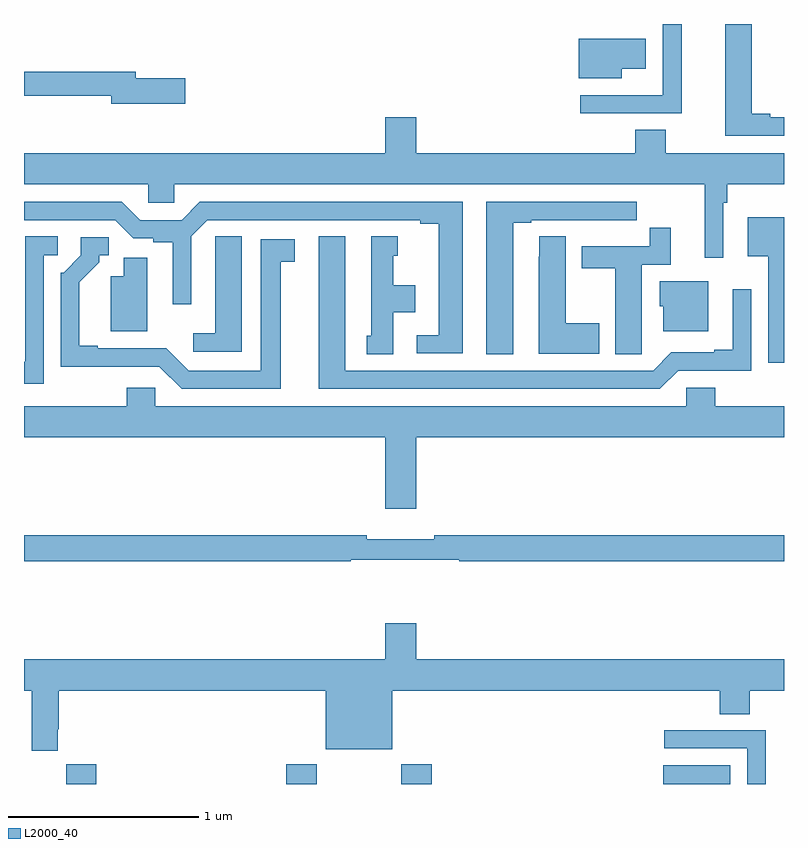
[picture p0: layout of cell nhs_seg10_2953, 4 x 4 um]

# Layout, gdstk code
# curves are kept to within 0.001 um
import gdstk
lib = gdstk.Library(unit=1e-6, precision=1e-09)
def R(c, l, rs):  # rectangles x0, y0, x1, y1
    for r in rs: c.add(gdstk.rectangle(r[:2], r[2:], *l))
def P(c, l, *ps):  # polygons
    for p in ps: c.add(gdstk.Polygon(p, *l))
L2000_40 = (2000, 40)

nhs_seg10_2953 = lib.new_cell('nhs_seg10_2953')
R(nhs_seg10_2953, L2000_40, [(271.223,1290.5,271.379,1290.604), (272.381,1290.5,272.541,1290.604), (272.986,1290.5,273.146,1290.604), (274.364,1290.5,274.717,1290.598)])
P(nhs_seg10_2953, L2000_40, [(275,1294.008),(274.927,1294.008),(274.927,1294.028),(274.831,1294.028),(274.831,1294.5),(274.691,1294.5),(274.691,1293.912),(275,1293.912)],
  [(274.461,1294.5),(274.362,1294.5),(274.362,1294.126),(274.361,1294.126),(274.361,1294.125),(273.927,1294.125),(273.927,1294.029),(274.461,1294.029)],
  [(274.147,1294.265),(274.273,1294.265),(274.273,1294.423),(273.92,1294.423),(273.92,1294.214),(274.147,1294.214)],
  [(271.849,1294.214),(271.588,1294.214),(271.588,1294.25),(271,1294.25),(271,1294.122),(271.46,1294.122),(271.46,1294.079),(271.849,1294.079)],
  [(274.68,1293.56),(274.7,1293.56),(274.7,1293.656),(275,1293.656),(275,1293.82),(274.377,1293.82),(274.377,1293.944),(274.217,1293.944),(274.217,1293.82),(273.064,1293.82),(273.064,1294.009),(272.9,1294.009),(272.9,1293.82),(271,1293.82),(271,1293.656),(271.653,1293.656),(271.653,1293.558),(271.791,1293.558),(271.791,1293.656),(274.583,1293.656),(274.583,1293.27),(274.68,1293.27)],
  [(273.574,1293.453),(273.67,1293.453),(273.67,1293.468),(273.946,1293.468),(273.946,1293.467),(274.112,1293.467),(274.112,1293.468),(274.225,1293.468),(274.225,1293.564),(273.434,1293.564),(273.434,1292.761),(273.574,1292.761)],
  [(273.31,1293.564),(271.925,1293.564),(271.829,1293.468),(271.611,1293.468),(271.515,1293.564),(271,1293.564),(271,1293.468),(271.479,1293.468),(271.575,1293.372),(271.68,1293.372),(271.68,1293.352),(271.784,1293.352),(271.784,1293.024),(271.881,1293.024),(271.881,1293.384),(271.965,1293.468),(273.086,1293.468),(273.086,1293.448),(273.182,1293.448),(273.182,1292.862),(273.066,1292.862),(273.066,1292.766),(273.31,1292.766)],
  [(275,1293.484),(274.808,1293.484),(274.808,1293.278),(274.917,1293.278),(274.917,1292.718),(275,1292.718)],
  [(274.251,1292.872),(274.252,1292.872),(274.252,1293.234),(274.403,1293.234),(274.403,1293.427),(274.294,1293.427),(274.294,1293.33),(273.935,1293.33),(273.935,1293.214),(274.112,1293.214),(274.112,1292.761),(274.251,1292.761)],
  [(274.027,1292.925),(273.85,1292.925),(273.85,1293.383),(273.711,1293.383),(273.711,1293.275),(273.71,1293.275),(273.71,1292.765),(274.027,1292.765)],
  [(272.146,1293.383),(272.007,1293.383),(272.007,1293.275),(272.006,1293.275),(272.006,1292.872),(271.89,1292.872),(271.89,1292.775),(272.146,1292.775)],
  [(271.104,1293.282),(271.177,1293.282),(271.177,1293.383),(271.007,1293.383),(271.007,1292.723),(271,1292.723),(271,1292.607),(271.104,1292.607)],
  [(274.443,1292.676),(274.827,1292.676),(274.827,1293.103),(274.73,1293.103),(274.73,1292.785),(274.634,1292.785),(274.634,1292.772),(274.407,1292.772),(274.311,1292.676),(272.692,1292.676),(272.692,1293.382),(272.552,1293.382),(272.552,1292.58),(274.347,1292.58)],
  [(272.944,1292.984),(273.058,1292.984),(273.058,1293.124),(272.944,1293.124),(272.944,1293.279),(272.968,1293.279),(272.968,1293.382),(272.828,1293.382),(272.828,1292.859),(272.804,1292.859),(272.804,1292.761),(272.944,1292.761)],
  [(272.35,1293.25),(272.425,1293.25),(272.425,1293.366),(272.246,1293.366),(272.246,1292.676),(271.866,1292.676),(271.749,1292.793),(271.387,1292.793),(271.387,1292.806),(271.291,1292.806),(271.291,1293.142),(271.396,1293.247),(271.396,1293.282),(271.446,1293.282),(271.446,1293.378),(271.299,1293.378),(271.299,1293.282),(271.209,1293.192),(271.194,1293.192),(271.194,1292.696),(271.713,1292.697),(271.83,1292.58),(272.35,1292.58)],
  [(271.648,1293.27),(271.526,1293.27),(271.526,1293.172),(271.457,1293.172),(271.457,1292.882),(271.648,1292.882)],
  [(274.6,1293.145),(274.346,1293.145),(274.346,1293.015),(274.364,1293.015),(274.364,1292.882),(274.6,1292.882)],
  [(273.064,1292.324),(275,1292.324),(275,1292.488),(274.637,1292.488),(274.637,1292.586),(274.485,1292.586),(274.485,1292.488),(271.692,1292.488),(271.692,1292.586),(271.541,1292.586),(271.541,1292.488),(271,1292.488),(271,1292.324),(272.9,1292.324),(272.9,1291.95),(273.064,1291.95)],
  [(272.72,1291.68),(273.291,1291.68),(273.291,1291.672),(275,1291.672),(275,1291.808),(273.16,1291.808),(273.16,1291.789),(272.804,1291.789),(272.804,1291.808),(271,1291.808),(271,1291.672),(272.72,1291.672)],
  [(271.177,1290.787),(271.184,1290.787),(271.184,1290.992),(272.588,1290.992),(272.588,1290.683),(272.938,1290.683),(272.938,1290.992),(274.661,1290.992),(274.661,1290.868),(274.821,1290.868),(274.821,1290.992),(275,1290.992),(275,1291.156),(273.064,1291.156),(273.064,1291.345),(272.9,1291.345),(272.9,1291.156),(271,1291.156),(271,1290.992),(271.04,1290.992),(271.04,1290.675),(271.177,1290.675)],
  [(274.905,1290.783),(274.371,1290.783),(274.371,1290.687),(274.806,1290.687),(274.806,1290.5),(274.905,1290.5)])

lib.write_gds('nhs_seg10_2953.gds')
